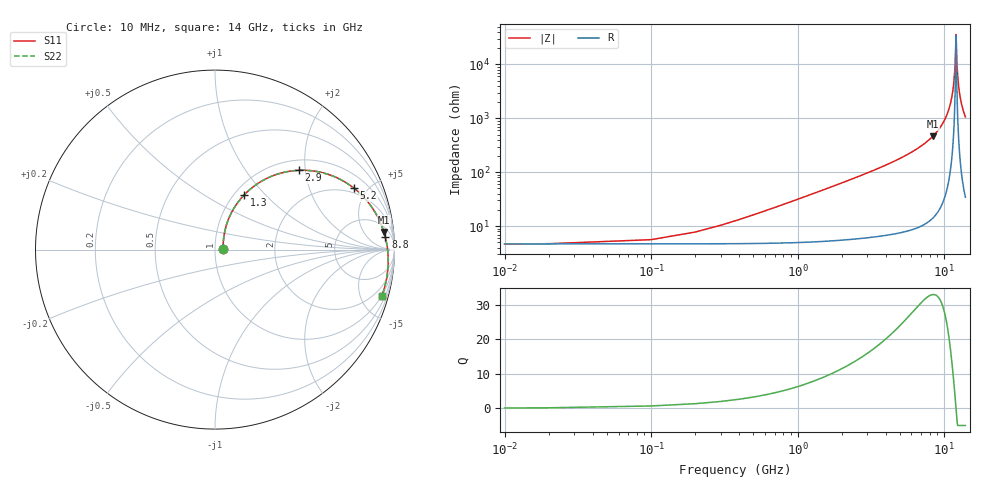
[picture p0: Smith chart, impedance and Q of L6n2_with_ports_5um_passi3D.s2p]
#  GHZ S DB R 50.0
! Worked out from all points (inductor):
!   142 points, 10 MHz to 14 GHz, reference 50 ohm
!   read as one part in series: L = 4.92 nH near 500 MHz
!   highest Q = 33 at 8.4 GHz (marker M1), where L = 8.84 nH
!   self-resonance near 12 GHz
!   S11 on the Smith chart (normalised r, x): 10 MHz: 1.09, +0.01; 1.3 GHz: 1.11, +0.77; 2.9 GHz: 1.22, +1.84; 5.2 GHz: 1.69, +4.09; 8.8 GHz: 13, +19; 14 GHz: 0.96, -7.20
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0.01  -26.98 3.3  -0.40 -0.2  -0.40 -0.2  -26.97 3.3
0.6  -15.41 65.8  -0.58 -10.7  -0.58 -10.7  -15.41 65.8
1.3  -9.19 61.8  -1.10 -22.1  -1.10 -22.1  -9.19 61.8
2.4  -4.92 48.9  -2.37 -37.6  -2.37 -37.6  -4.92 48.9
2.9  -3.84 43.4  -3.08 -43.5  -3.08 -43.5  -3.84 43.4
4.7  -1.75 27.3  -5.99 -60.5  -5.99 -60.5  -1.75 27.3
5.2  -1.44 23.7  -6.88 -64.3  -6.88 -64.3  -1.44 23.7
7.1  -0.72 12.3  -10.63 -76.0  -10.63 -76.0  -0.73 12.3
8.4  -0.48 5.9  -13.79 -82.4  -13.79 -82.4  -0.48 5.9
8.8  -0.43 4.1  -14.93 -84.2  -14.93 -84.2  -0.43 4.1
9.4  -0.37 1.6  -16.89 -86.6  -16.89 -86.6  -0.37 1.5
10.9  -0.28 -4.4  -24.43 -91.4  -24.43 -91.4  -0.29 -4.5
11.4  -0.27 -6.3  -29.29 -91.5  -29.29 -91.5  -0.27 -6.4
11.7  -0.27 -7.4  -34.29 -89.3  -34.29 -89.3  -0.27 -7.5
11.9  -0.27 -8.2  -40.38 -82.0  -40.38 -82.0  -0.27 -8.2
12.1  -0.27 -8.9  -51.44 4.5  -51.44 4.5  -0.27 -8.9
12.2  -0.27 -9.3  -44.35 55.5  -44.35 55.5  -0.27 -9.3
12.3  -0.27 -9.6  -39.46 66.5  -39.46 66.5  -0.27 -9.6
12.4  -0.27 -10.0  -36.27 70.5  -36.27 70.5  -0.27 -10.0
12.6  -0.27 -10.7  -32.10 73.5  -32.10 73.5  -0.27 -10.7
13.2  -0.28 -12.8  -25.53 74.5  -25.53 74.5  -0.28 -12.8
14  -0.31 -15.5  -20.97 72.8  -20.97 72.8  -0.31 -15.6
